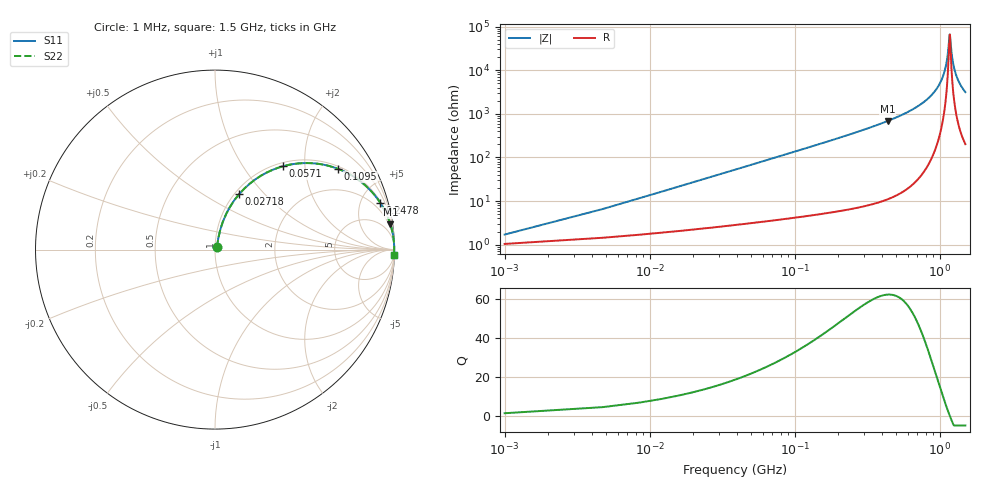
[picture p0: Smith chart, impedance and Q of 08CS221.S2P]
! Coilcraft 0805CS-221 Chip Inductor
! 11 June 2002
# MHZ S MA R 50
!Freq  MagS11  AngS11  MagS21  AngS21  MagS12  AngS12  MagS22  AngS22
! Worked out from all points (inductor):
!   402 points, 1 MHz to 1.5 GHz, reference 50 ohm
!   read as one part in series: L = 215 nH near 8.48 MHz
!   highest Q = 62.5 at 438.6 MHz (marker M1), where L = 250 nH
!   self-resonance near 1.168 GHz
!   S11 on the Smith chart (normalised r, x): 1 MHz: 1.02, +0.03; 27.18 MHz: 1.05, +0.73; 57.1 MHz: 1.07, +1.55; 109.5 MHz: 1.09, +2.98; 247.8 MHz: 1.13, +7.01; 1.5 GHz: 5, -63
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1  0.01687 51.6  0.9896 -0.8  0.9896 -0.8  0.01687 51.6
12.22  0.161 74.3  0.9688 -9.2  0.9688 -9.2  0.161 74.3
19.7  0.2529 70.7  0.9468 -14.6  0.9468 -14.6  0.2529 70.7
27.18  0.3382 66.4  0.9186 -19.7  0.9186 -19.7  0.3382 66.4
57.1  0.5998 50.8  0.7751 -36.8  0.7751 -36.8  0.5998 50.8
109.46  0.8198 33.3  0.5494 -55.0  0.5494 -55.0  0.8198 33.3
165.56  0.9083 23.4  0.3979 -65.2  0.3979 -65.2  0.9083 23.4
247.84  0.9569 15.8  0.2729 -73.1  0.2729 -73.1  0.9569 15.8
251.58  0.9581 15.6  0.2689 -73.3  0.2689 -73.3  0.9581 15.6
438.58  0.9874 8.2  0.1432 -80.8  0.1432 -80.8  0.9874 8.2
502.16  0.9909 6.8  0.1192 -82.2  0.1192 -82.2  0.9909 6.8
752.74  0.997 3.3  0.0575 -85.4  0.0575 -85.4  0.997 3.3
1003.32  0.9985 1.1  0.01959 -84.9  0.01959 -84.9  0.9985 1.1
1059.42  0.9985 0.7  0.01269 -83.0  0.01269 -83.0  0.9985 0.7
1104.3  0.9985 0.4  0.0075 -78.6  0.0075 -78.6  0.9985 0.4
1134.22  0.9985 0.2  0.004243 -69.6  0.004243 -69.6  0.9985 0.2
1167.88  0.9985 0.0  0.001528 -11.0  0.001528 -11.0  0.9985 0.0
1179.1  0.9985 -0.1  0.001769 31.1  0.001769 31.1  0.9985 -0.1
1216.5  0.9984 -0.3  0.005103 71.9  0.005103 71.9  0.9984 -0.3
1253.9  0.9984 -0.5  0.008834 79.0  0.008834 79.0  0.9984 -0.5
1351.14  0.9981 -1.0  0.01825 83.4  0.01825 83.4  0.9981 -1.0
1500  0.9975 -1.8  0.03165 84.5  0.03165 84.5  0.9975 -1.8
